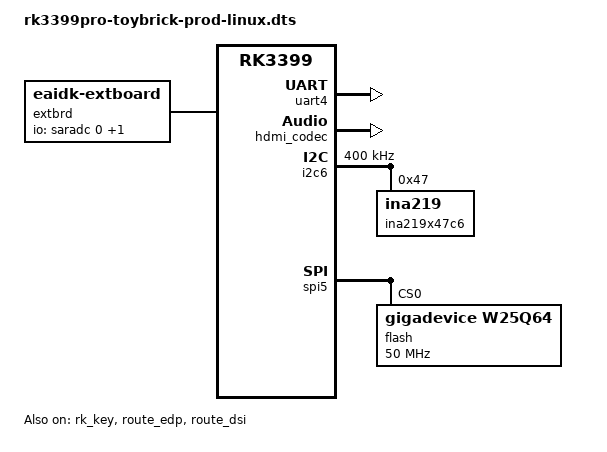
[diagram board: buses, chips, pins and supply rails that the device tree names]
/dts-v1/;
#include "rk3399pro-toybrick-prod.dtsi"
#include "rk3399-android.dtsi"

/* Default camera: ov9750 */
#include "rk3399pro-toybrick-ov9750.dtsi"

/ {
	compatible = "rockchip,rk3399pro-toybrick-prod-linux","rockchip,rk3399pro";
	extbrd: extbrd {
		compatible = "eaidk-extboard";
		io-channels = <&saradc 0>, <&saradc 1>;
		pinctrl-names = "default";
		pinctrl-0 =<&extkey_gpio>;
	};
};

&fiq_debugger {
	pinctrl-0 = <&uart2c_xfer>;
};

&rk_key {
	status = "okay";

	io-channels = <&saradc 2>;

	vol-up-key {
		linux,code = <115>;
		label = "volume up";
		rockchip,adc_value = <1>;
	};
};

&uart4 {
	status = "okay";
};

&spi1 {
	status = "disabled";
};

&route_edp {
	status = "okay";
};

&route_dsi {
	status = "okay";
};

&hdmi_codec {
	status = "okay";
};

&i2c6 {
	status = "okay";
	i2c-scl-rising-time-ns = <300>;
	i2c-scl-falling-time-ns = <15>;
	clock-frequency=<400000>;

	ina219x47c6: ina219@47 {
		compatible = "ina219";
		reg = <0x47>;
	};
};

&spi5 {
	status = "okay";

	flash@0 {
		compatible = "gigadevice,w25q64", "jedec,spi-nor";
		#address-cells = <1>;
		#size-cells = <1>;
		reg = <0>;
		m25p,fast-read;
		// The max SCLK of the flash 104/80 MHZ
		spi-max-frequency = <50000000>;
	};
};

&pinctrl {
	extbrd {
		extkey_gpio: extkey-gpio {
			rockchip,pins =
				<0 5 RK_FUNC_GPIO &pcfg_pull_up>,
				<0 6 RK_FUNC_GPIO &pcfg_pull_up>,
				<1 9 RK_FUNC_GPIO &pcfg_pull_up>,
				<1 10 RK_FUNC_GPIO &pcfg_pull_up>;
		};
	};
};
